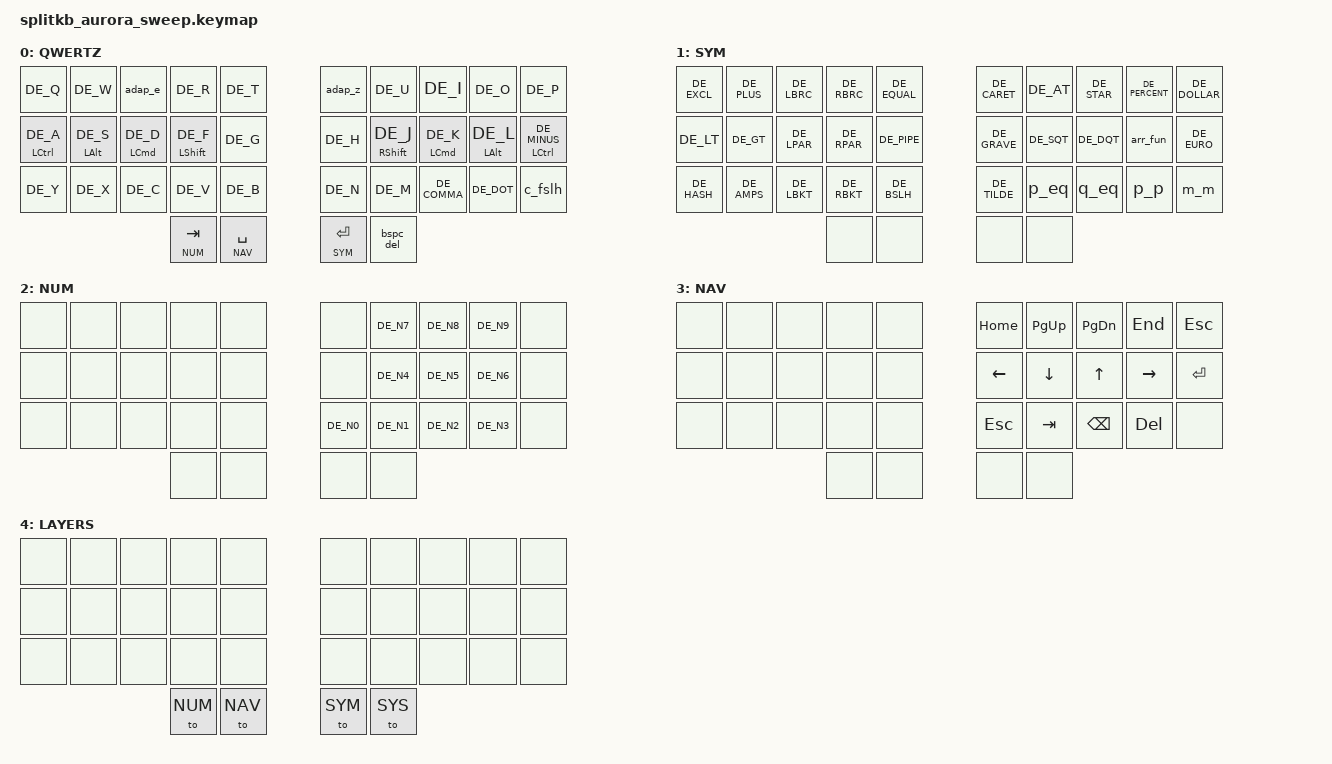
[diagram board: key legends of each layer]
#include <behaviors.dtsi>
#include <dt-bindings/zmk/keys.h>

#include "zmk-helpers/helper.h"
#include "zmk-helpers/key-labels/34.h"
#include "zmk-helpers/unicode-chars/german.dtsi"
#include "keys_de.h"

#define xxx &none
#define ___ &trans

// https://github.com/urob/zmk-config/tree/main#timeless-homerow-mods
#define KEYS_L LT0 LT1 LT2 LT3 LT4 LM0 LM1 LM2 LM3 LM4 LB0 LB1 LB2 LB3 LB4
#define KEYS_R RT0 RT1 RT2 RT3 RT4 RM0 RM1 RM2 RM3 RM4 RB0 RB1 RB2 RB3 RB4
#define THUMBS LH1 LH0 RH0 RH1

// define mod morph with single mod key
#define SIMPLE_MORPH(NAME, MOD, BINDING1, BINDING2)     \
    ZMK_MOD_MORPH(NAME,                                 \
        mods = <(MOD_L##MOD | MOD_R##MOD)>;             \
        bindings = <BINDING1>, <BINDING2>;              \
    )

// custom keys
SIMPLE_MORPH(c_fslh, SFT, &kp DE_FSLH, &kp DE_QUESTION)


ZMK_HOLD_TAP(hml,
    flavor = "balanced";
    tapping-term-ms = <280>;
    require-prior-idle-ms = <150>;
    hold-trigger-key-positions = <KEYS_R THUMBS>;
    hold-trigger-on-release;
    bindings = <&kp>, <&kp>;
)

ZMK_HOLD_TAP(hmr,
    flavor = "balanced";
    tapping-term-ms = <280>;
    require-prior-idle-ms = <150>;
    hold-trigger-key-positions = <KEYS_L THUMBS>;
    hold-trigger-on-release;
    bindings = <&kp>, <&kp>;
)

// homerow keys
#define HM_A        &hml LCTRL DE_A
#define HM_S        &hml LALT DE_S
#define HM_D        &hml LCMD DE_D
#define HM_F        &hml LSHIFT DE_F

#define HM_J        &hmr RSHIFT DE_J
#define HM_K        &hmr LCMD DE_K
#define HM_L        &hmr LALT DE_L
#define HM_MINUS    &hmr LCTRL DE_MINUS

// umlaut combos
#define ADAPTIVE_IDLE 800
ZMK_ADAPTIVE_KEY(
    adap_e, bindings = <&kp DE_E>;
    ae_umlaut {
        trigger-keys = <A>;
        bindings = <&kp BACKSPACE &kp DE_A_UMLAUT>;
        max-prior-idle-ms = <ADAPTIVE_IDLE>;
    };
    oe_umlaut {
        trigger-keys = <O>;
        bindings = <&kp BACKSPACE &kp DE_O_UMLAUT>;
        max-prior-idle-ms = <ADAPTIVE_IDLE>;
    };
    ue_umlaut {
        trigger-keys = <U>;
        bindings = <&kp BACKSPACE &kp DE_U_UMLAUT>;
        max-prior-idle-ms = <ADAPTIVE_IDLE>;
    };

    ae_umlaut_upper {
        trigger-keys = <LS(A)>;
        bindings = <&kp BACKSPACE &kp LS(DE_A_UMLAUT)>;
        max-prior-idle-ms = <ADAPTIVE_IDLE>;
    };
    oe_umlaut_upper {
        trigger-keys = <LS(O)>;
        bindings = <&kp BACKSPACE &kp LS(DE_O_UMLAUT)>;
        max-prior-idle-ms = <ADAPTIVE_IDLE>;
    };
    ue_umlaut_upper {
        trigger-keys = <LS(U)>;
        bindings = <&kp BACKSPACE &kp LS(DE_U_UMLAUT)>;
        max-prior-idle-ms = <ADAPTIVE_IDLE>;
    };
)
ZMK_ADAPTIVE_KEY(
    adap_z, bindings = <&kp DE_Z>;
    eszett {
        trigger-keys = <S>;
        bindings = <&kp BACKSPACE &kp DE_ESZETT>;
        max-prior-idle-ms = <ADAPTIVE_IDLE>;
    };
)

// tap: backspace | shift + tap: delete
ZMK_MOD_MORPH(bspc_del,
     bindings = <&kp BSPC>, <&kp DEL>;
     mods = <(MOD_LSFT|MOD_RSFT)>;
)

ZMK_COMBO(esc, &kp ESC, LT1 LT2, QWERTZ)
ZMK_COMBO(caps_word, &caps_word, RT2 RT3, QWERTZ)

#define QWERTZ      0
#define SYM         1
#define NUM         2
#define NAV         3
#define SYS         4
#define LAYERS      5

// permanent layer switch combos
ZMK_COMBO(to_layers, &to LAYERS, LM0 RM4, QWERTZ SYM NUM NAV SYS) // use pinkies to go to layers selection layer
ZMK_COMBO(to_qwertz, &to QWERTZ, LM0 RM4, LAYERS) // use pinkies to go to default layer from the selection layer
ZMK_CONDITIONAL_LAYER(sys, NAV SYM, SYS) // go to SYS layer when NAV and SYM are active

ZMK_LAYER(QWERTZ,
  // ╭────────────────┬────────────────┬────────────────┬────────────────┬────────────────╮╭────────────────┬────────────────┬────────────────┬────────────────┬────────────────╮
       &kp DE_Q         &kp DE_W         &adap_e          &kp DE_R         &kp DE_T          &adap_z          &kp DE_U         &kp DE_I         &kp DE_O         &kp DE_P
  // ├────────────────┼────────────────┼────────────────┤────────────────┤────────────────┤├────────────────┼────────────────┼────────────────┤────────────────┤────────────────┤
       HM_A             HM_S             HM_D             HM_F             &kp DE_G          &kp DE_H         HM_J             HM_K             HM_L             HM_MINUS
  // ├────────────────┼────────────────┼────────────────┤────────────────┤────────────────┤├────────────────┼────────────────┼────────────────┤────────────────┤────────────────┤
       &kp DE_Y         &kp DE_X         &kp DE_C         &kp DE_V         &kp DE_B          &kp DE_N         &kp DE_M         &kp DE_COMMA     &kp DE_DOT       &c_fslh
  // ├────────────────┼────────────────┼────────────────┤────────────────┤────────────────┤├────────────────┼────────────────┼────────────────┤────────────────┤────────────────┤
                                                          &lt NUM TAB      &lt NAV SPACE     &lt SYM ENTER    &bspc_del
  //                                                    ╰────────────────┴────────────────╯╰────────────────┴────────────────╯
)

ZMK_MACRO(arr_fun, bindings = <&kp DE_EQUAL &kp DE_GT>;)     // =>
ZMK_MACRO(p_eq, bindings = <&kp DE_PLUS &kp DE_EQUAL>;)      // +=
ZMK_MACRO(q_eq, bindings = <&kp DE_QMARK &kp DE_EQUAL>;)     // ?=
ZMK_MACRO(p_p, bindings = <&kp DE_PLUS &kp DE_PLUS>;)        // ++
ZMK_MACRO(m_m, bindings = <&kp DE_MINUS &kp DE_MINUS>;)      // --
ZMK_LAYER(SYM,
  // ╭────────────────┬────────────────┬────────────────┬────────────────┬────────────────╮╭────────────────┬────────────────┬────────────────┬────────────────┬────────────────╮
       &kp DE_EXCL      &kp DE_PLUS      &kp DE_LBRC      &kp DE_RBRC      &kp DE_EQUAL      &kp DE_CARET     &kp DE_AT        &kp DE_STAR      &kp DE_PERCENT   &kp DE_DOLLAR
  // ├────────────────┼────────────────┼────────────────┤────────────────┤────────────────┤├────────────────┼────────────────┼────────────────┤────────────────┤────────────────┤
       &kp DE_LT        &kp DE_GT        &kp DE_LPAR      &kp DE_RPAR      &kp DE_PIPE       &kp DE_GRAVE     &kp DE_SQT       &kp DE_DQT       &arr_fun         &kp DE_EURO
  // ├────────────────┼────────────────┼────────────────┤────────────────┤────────────────┤├────────────────┼────────────────┼────────────────┤────────────────┤────────────────┤
       &kp DE_HASH      &kp DE_AMPS      &kp DE_LBKT      &kp DE_RBKT      &kp DE_BSLH       &kp DE_TILDE     &p_eq            &q_eq            &p_p             &m_m
  // ├────────────────┼────────────────┼────────────────┤────────────────┤────────────────┤├────────────────┼────────────────┼────────────────┤────────────────┤────────────────┤
                                                          xxx              xxx               xxx              xxx
  //                                                    ╰────────────────┴────────────────╯╰────────────────┴────────────────╯
)

ZMK_LAYER(NUM,
  // ╭────────────────┬────────────────┬────────────────┬────────────────┬────────────────╮╭────────────────┬────────────────┬────────────────┬────────────────┬────────────────╮
       xxx              xxx              xxx              xxx              xxx               xxx              &kp DE_N7        &kp DE_N8        &kp DE_N9        xxx
  // ├────────────────┼────────────────┼────────────────┤────────────────┤────────────────┤├────────────────┼────────────────┼────────────────┤────────────────┤────────────────┤
       xxx              xxx              xxx              xxx              xxx               xxx              &kp DE_N4        &kp DE_N5        &kp DE_N6        xxx
  // ├────────────────┼────────────────┼────────────────┤────────────────┤────────────────┤├────────────────┼────────────────┼────────────────┤────────────────┤────────────────┤
       xxx              xxx              xxx              xxx              xxx               &kp DE_N0        &kp DE_N1        &kp DE_N2        &kp DE_N3        xxx
  // ├────────────────┼────────────────┼────────────────┤────────────────┤────────────────┤├────────────────┼────────────────┼────────────────┤────────────────┤────────────────┤
                                                          xxx              xxx               xxx              xxx
  //                                                    ╰────────────────┴────────────────╯╰────────────────┴────────────────╯
)

ZMK_LAYER(NAV,
  // ╭────────────────┬────────────────┬────────────────┬────────────────┬────────────────╮╭────────────────┬────────────────┬────────────────┬────────────────┬────────────────╮
       xxx              xxx              xxx              xxx              xxx               &kp HOME         &kp PAGE_UP      &kp PAGE_DOWN    &kp END          &kp ESC
  // ├────────────────┼────────────────┼────────────────┤────────────────┤────────────────┤├────────────────┼────────────────┼────────────────┤────────────────┤────────────────┤
       xxx              xxx              xxx              xxx              xxx               &kp LEFT         &kp DOWN         &kp UP           &kp RIGHT        &kp ENTER
  // ├────────────────┼────────────────┼────────────────┤────────────────┤────────────────┤├────────────────┼────────────────┼────────────────┤────────────────┤────────────────┤
       xxx              xxx              xxx              xxx              xxx               &kp ESC          &kp TAB          &kp BSPC         &kp DEL          xxx
  // ├────────────────┼────────────────┼────────────────┤────────────────┤────────────────┤├────────────────┼────────────────┼────────────────┤────────────────┤────────────────┤
                                                          xxx              xxx               xxx              xxx
  //                                                    ╰────────────────┴────────────────╯╰────────────────┴────────────────╯
)

ZMK_LAYER(LAYERS,
  // ╭────────────────┬────────────────┬────────────────┬────────────────┬────────────────╮╭────────────────┬────────────────┬────────────────┬────────────────┬────────────────╮
       xxx              xxx              xxx              xxx              xxx               xxx              xxx              xxx              xxx              xxx
  // ├────────────────┼────────────────┼────────────────┤────────────────┤────────────────┤├────────────────┼────────────────┼────────────────┤────────────────┤────────────────┤
       xxx              xxx              xxx              xxx              xxx               xxx              xxx              xxx              xxx              xxx
  // ├────────────────┼────────────────┼────────────────┤────────────────┤────────────────┤├────────────────┼────────────────┼────────────────┤────────────────┤────────────────┤
       xxx              xxx              xxx              xxx              xxx               xxx              xxx              xxx              xxx              xxx
  // ├────────────────┼────────────────┼────────────────┤────────────────┤────────────────┤├────────────────┼────────────────┼────────────────┤────────────────┤────────────────┤
                                                          &to NUM          &to NAV           &to SYM          &to SYS
  //                                                    ╰────────────────┴────────────────╯╰────────────────┴────────────────╯
)

